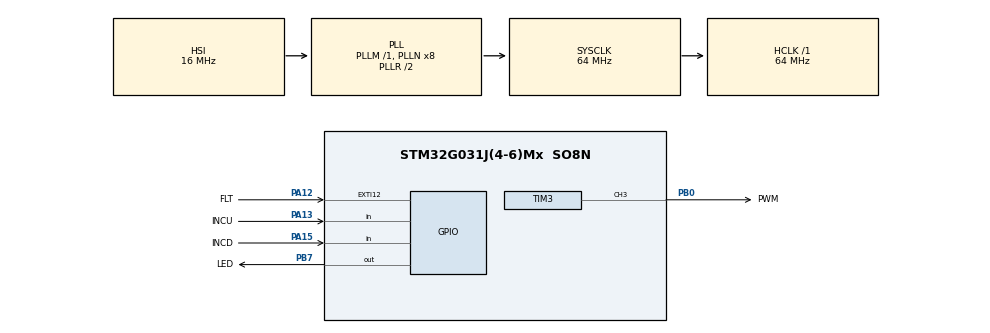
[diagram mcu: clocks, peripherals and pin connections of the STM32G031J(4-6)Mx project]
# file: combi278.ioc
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Mcu.Family=STM32G0
Mcu.Name=STM32G031J(4-6)Mx
Mcu.Package=SO8N
NVIC.EXTI4_15_IRQn=true\:0\:0\:false\:false\:true\:true\:true\:true
PA12\ [PA10].GPIO_Label=FLT
PA12\ [PA10].GPIO_ModeDefaultEXTI=GPIO_MODE_IT_FALLING
PA12\ [PA10].GPIO_PuPd=GPIO_PULLUP
PA12\ [PA10].Signal=GPXTI12
PA13.GPIO_Label=INCU
PA13.GPIO_PuPd=GPIO_PULLDOWN
PA13.Signal=GPIO_Input
PA14-BOOT0__PA15__PB5__PB6.StandardMode=true
PA15.GPIO_Label=INCD
PA15.GPIO_PuPd=GPIO_PULLDOWN
PA15.Signal=GPIO_Input
PB0.GPIO_Label=PWM
PB0.Signal=S_TIM3_CH3
PB0__PB1__PA8__PA11\ [PA9].StandardMode=true
PB7.GPIO_Label=LED
PB7.GPIO_ModeDefaultOutputPP=GPIO_MODE_OUTPUT_OD
PB7.GPIO_PuPd=GPIO_NOPULL
PB7.PinState=GPIO_PIN_SET
PB7.Signal=GPIO_Output
PC14-OSC32_IN\ (PC14)__PB7__PB8__PB9.StandardMode=true
PF2\ -\ NRST__PA0__PA1__PA2.StandardMode=true
ProjectManager.HeapSize=0x200
ProjectManager.StackSize=0x400
ProjectManager.TargetToolchain=STM32CubeIDE
RCC.ADCFreq_Value=64000000
RCC.AHBFreq_Value=64000000
RCC.CortexFreq_Value=64000000
RCC.EXTERNAL_CLOCK_VALUE=12288000
RCC.HCLKFreq_Value=64000000
RCC.HSE_VALUE=8000000
RCC.HSI_VALUE=16000000
RCC.LSE_VALUE=32768
RCC.SYSCLKFreq_VALUE=64000000
RCC.SYSCLKSource=RCC_SYSCLKSOURCE_PLLCLK
RCC.VCOOutputFreq_Value=128000000
SH.S_TIM3_CH3.0=TIM3_CH3,PWM Generation3 CH3
TIM3.AutoReloadPreload=TIM_AUTORELOAD_PRELOAD_ENABLE
TIM3.Channel-PWM\ Generation3\ CH3=TIM_CHANNEL_3
TIM3.Period=31999
TIM3.Prescaler=0
VP_TIM3_VS_ClockSourceINT.Mode=Internal
board=custom

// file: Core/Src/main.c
/* USER CODE BEGIN Header */
/**
  ******************************************************************************
  * @file           : main.c
  * @brief          : STM32G031J6 controller for MAX20078 buck LED driver
  ******************************************************************************
  * @attention
  *
  * Copyright (c) 2026 STMicroelectronics.
  * All rights reserved.
  *
  * This software is licensed under terms that can be found in the LICENSE file
  * in the root directory of this software component.
  * If no LICENSE file comes with this software, it is provided AS-IS.
  *
  ******************************************************************************
  *
  * PIN MAP
  *   PB7  LED   open-drain, LED anode to 3V3, low = lit
  *   PA13 INCU  active-high from debounce IC, internal pull-down
  *   PA15 INCD  active-high from debounce IC, internal pull-down
  *   PA12 FLT   MAX20078 open-drain fault, active low, internal pull-up
  *   PB0  PWM   TIM3_CH3 -> MAX20078 DIM (active high, 10k pull-up on board)
  *
  * TIMER
  *   PSC = 4, ARR = 31999  ->  64MHz / 5 / 32000 = 400 Hz, 32000 steps.
  *   Period is 2.5ms, so DUTY_MIN of 560 counts is a 43us DIM pulse --
  *   about 20 cycles of the 460kHz switching frequency, enough for the
  *   average-current loop to settle. (At 2 kHz the same count is only
  *   8.75us and the low end stops regulating.)
  *
  * RAMP
  *   Level is computed from total elapsed time since the press began, not
  *   accumulated per iteration. Accumulating truncated increments loses
  *   almost everything when the loop runs faster than 1ms per step; anchoring
  *   to a start time makes a full sweep in exactly SWEEP_MS by construction.
  *
  * BEHAVIOUR
  *   Hold INCU / INCD to ramp brightness smoothly. Holding INCD past minimum
  *   turns the output fully off; INCU wakes it back to minimum.
  *
  * MAX20078 NOTES
  *   DIM low for >200ms puts the part into shutdown, which pulls FLT low.
  *   That is expected in off mode, not a fault, so the fault latch is gated
  *   on off_mode and on a wake window after leaving it. On a genuine fault
  *   the output is held at DUTY_MIN rather than stopped -- stopping the timer
  *   would release PB0 to the board's 10k pull-up on DIM and drive the LED to
  *   full brightness.
  *
  ******************************************************************************
  */
/* USER CODE END Header */
#include "main.h"

/* USER CODE BEGIN PD */
/* Declared here, ahead of all code, so CubeMX regeneration can't reorder them
 * behind a call site. */
static void     latch_fault(void);
static void     write_duty(uint16_t d);
static uint16_t level_to_duty(uint16_t lv);
static void     apply_level(void);
static void     go_off(void);
static void     go_on(void);
/* USER CODE END PD */

TIM_HandleTypeDef htim3;

/* USER CODE BEGIN PV */
/* --- PWM range ----------------------------------------------------------- */
#define DUTY_MAX      32000u   /* = ARR + 1, 100% duty */
#define DUTY_MIN        560u   /* 1.75% = 43us on-time at 400Hz */
#define DUTY_OFF          0u   /* full off; DIM low, controller shuts down */

/* --- perceptual level ---------------------------------------------------- */
#define LEVEL_MAX      1000u   /* linear user-facing level, gamma applied below */
#define LEVEL_MIN         0u
#define LEVEL_START     500u   /* level on power-up and on wake from off */
#define SWEEP_MS       3000u   /* full 0..LEVEL_MAX sweep while held */

/* --- timing -------------------------------------------------------------- */
#define DEBOUNCE_N      200u   /* consecutive stable samples before acting */
#define BLINK_MS        100u   /* indicator toggle interval while adjusting */
#define STARTUP_MS      300u   /* > 200ms shutdown timer + controller startup */
#define WAKE_MS         400u   /* ignore FLT this long after leaving off mode */

#define LED_ON()  HAL_GPIO_WritePin(LED_GPIO_Port, LED_Pin, GPIO_PIN_RESET)
#define LED_OFF() HAL_GPIO_WritePin(LED_GPIO_Port, LED_Pin, GPIO_PIN_SET)

volatile uint8_t  fault     = 0;   /* latched, clears only on power cycle */
static   uint16_t level     = LEVEL_START;
static   uint8_t  off_mode  = 0;
volatile uint32_t wake_tick = 0;
/* USER CODE END PV */

void SystemClock_Config(void);
static void MX_GPIO_Init(void);
static void MX_TIM3_Init(void);

int main(void)
{

  /* MCU Configuration--------------------------------------------------------*/

  /* Reset of all peripherals, Initializes the Flash interface and the Systick. */
  HAL_Init();

  /* Configure the system clock */
  SystemClock_Config();

  /* Initialize all configured peripherals */
  MX_GPIO_Init();
  MX_TIM3_Init();
  /* USER CODE BEGIN 2 */
  /* Discard any EXTI edge captured while the GPIO block was configured. */
  __HAL_GPIO_EXTI_CLEAR_FALLING_IT(FLT_Pin);

  LED_OFF();

  /* Start mid-range. Never start at DUTY_OFF: DIM low for >200ms puts the
   * MAX20078 into shutdown, which pulls FLT low. */
  level = LEVEL_START;
  HAL_TIM_PWM_Start(&htim3, TIM_CHANNEL_3);
  apply_level();

  /* Let the controller finish its own startup before believing FLT. */
  HAL_Delay(STARTUP_MS);
  if (HAL_GPIO_ReadPin(FLT_GPIO_Port, FLT_Pin) == GPIO_PIN_RESET)
  {
    latch_fault();
  }

  uint32_t blink_t = HAL_GetTick();
  uint32_t ramp_t0 = 0;      /* tick when the current press began */
  uint16_t ramp_l0 = 0;      /* level when the current press began */
  uint8_t  ramping = 0;      /* a press is currently in progress */
  uint8_t  ramp_up = 0;      /* direction of the current press */
  uint16_t up_cnt  = 0;
  uint16_t dn_cnt  = 0;
  /* USER CODE END 2 */

  /* Infinite loop */
  while (1)
  {

    /* USER CODE BEGIN 3 */
    if (fault)
    {
      LED_ON();                 /* solid = latched fault, clears on power cycle */
      continue;
    }

    /* ---- read buttons with an integrating debounce ----------------------
     * A coupled switching glitch never survives DEBOUNCE_N consecutive
     * samples; a real press does. Compensates for the weak internal
     * pull-downs, since no external ones are fitted. */
    up_cnt = (HAL_GPIO_ReadPin(INCU_GPIO_Port, INCU_Pin) == GPIO_PIN_SET)
               ? (uint16_t)(up_cnt + 1u) : 0u;
    dn_cnt = (HAL_GPIO_ReadPin(INCD_GPIO_Port, INCD_Pin) == GPIO_PIN_SET)
               ? (uint16_t)(dn_cnt + 1u) : 0u;

    if (up_cnt > DEBOUNCE_N) up_cnt = (uint16_t)(DEBOUNCE_N + 1u);  /* no rollover */
    if (dn_cnt > DEBOUNCE_N) dn_cnt = (uint16_t)(DEBOUNCE_N + 1u);

    uint8_t up = (up_cnt > DEBOUNCE_N);
    uint8_t dn = (dn_cnt > DEBOUNCE_N);

    /* Both directions at once is physically meaningless: treat as noise. */
    if (up && dn) { up = 0; dn = 0; }

    uint32_t now = HAL_GetTick();

    if (up || dn)
    {
      /* Anchor on a new press, or when direction reverses mid-hold. */
      if (!ramping || (ramp_up != up))
      {
        ramping = 1;
        ramp_up = up;
        ramp_t0 = now;
        ramp_l0 = level;
      }

      /* Level from TOTAL elapsed time. A single division on the whole
       * interval, so holding for exactly SWEEP_MS always covers the full
       * range -- no truncation loss from summing per-iteration steps. */
      uint32_t elapsed = now - ramp_t0;
      uint32_t travel  = ((uint32_t)LEVEL_MAX * elapsed) / SWEEP_MS;

      if (up)
      {
        if (off_mode)
        {
          go_on();                                /* off -> lowest brightness */
          ramp_t0 = now;
          ramp_l0 = level;
        }
        else
        {
          level = ((uint32_t)ramp_l0 + travel > LEVEL_MAX)
                    ? LEVEL_MAX : (uint16_t)(ramp_l0 + travel);
          apply_level();
        }
      }
      else if (!off_mode)
      {
        if (travel >= (uint32_t)ramp_l0)          /* would go below minimum */
        {
          if (level == LEVEL_MIN)
          {
            go_off();                             /* already at minimum -> off */
          }
          else
          {
            level = LEVEL_MIN;
            apply_level();
          }
        }
        else
        {
          level = (uint16_t)(ramp_l0 - travel);
          apply_level();
        }
      }

      /* Blink the indicator on its own timebase, so ramp rate and blink
       * rate stay independent. */
      if ((now - blink_t) >= BLINK_MS)
      {
        blink_t = now;
        HAL_GPIO_TogglePin(LED_GPIO_Port, LED_Pin);
      }
    }
    else
    {
      ramping = 0;
      LED_OFF();
      blink_t = now;
    }
  }
  /* USER CODE END 3 */
}

void SystemClock_Config(void)
{
  RCC_OscInitTypeDef RCC_OscInitStruct = {0};
  RCC_ClkInitTypeDef RCC_ClkInitStruct = {0};

  /** Configure the main internal regulator output voltage
  */
  HAL_PWREx_ControlVoltageScaling(PWR_REGULATOR_VOLTAGE_SCALE1);

  /** Initializes the RCC Oscillators according to the specified parameters
  * in the RCC_OscInitTypeDef structure.
  */
  RCC_OscInitStruct.OscillatorType = RCC_OSCILLATORTYPE_HSI;
  RCC_OscInitStruct.HSIState = RCC_HSI_ON;
  RCC_OscInitStruct.HSIDiv = RCC_HSI_DIV1;
  RCC_OscInitStruct.HSICalibrationValue = RCC_HSICALIBRATION_DEFAULT;
  RCC_OscInitStruct.PLL.PLLState = RCC_PLL_ON;
  RCC_OscInitStruct.PLL.PLLSource = RCC_PLLSOURCE_HSI;
  RCC_OscInitStruct.PLL.PLLM = RCC_PLLM_DIV1;
  RCC_OscInitStruct.PLL.PLLN = 8;
  RCC_OscInitStruct.PLL.PLLP = RCC_PLLP_DIV2;
  RCC_OscInitStruct.PLL.PLLQ = RCC_PLLQ_DIV2;
  RCC_OscInitStruct.PLL.PLLR = RCC_PLLR_DIV2;
  if (HAL_RCC_OscConfig(&RCC_OscInitStruct) != HAL_OK)
  {
    Error_Handler();
  }

  /** Initializes the CPU, AHB and APB buses clocks
  */
  RCC_ClkInitStruct.ClockType = RCC_CLOCKTYPE_HCLK|RCC_CLOCKTYPE_SYSCLK
                              |RCC_CLOCKTYPE_PCLK1;
  RCC_ClkInitStruct.SYSCLKSource = RCC_SYSCLKSOURCE_PLLCLK;
  RCC_ClkInitStruct.AHBCLKDivider = RCC_SYSCLK_DIV1;
  RCC_ClkInitStruct.APB1CLKDivider = RCC_HCLK_DIV1;

  if (HAL_RCC_ClockConfig(&RCC_ClkInitStruct, FLASH_LATENCY_2) != HAL_OK)
  {
    Error_Handler();
  }
}

static void MX_TIM3_Init(void)
{

  TIM_ClockConfigTypeDef sClockSourceConfig = {0};
  TIM_MasterConfigTypeDef sMasterConfig = {0};
  TIM_OC_InitTypeDef sConfigOC = {0};

  htim3.Instance = TIM3;
  htim3.Init.Prescaler = 4;
  htim3.Init.CounterMode = TIM_COUNTERMODE_UP;
  htim3.Init.Period = 31999;
  htim3.Init.ClockDivision = TIM_CLOCKDIVISION_DIV1;
  htim3.Init.AutoReloadPreload = TIM_AUTORELOAD_PRELOAD_ENABLE;
  if (HAL_TIM_Base_Init(&htim3) != HAL_OK)
  {
    Error_Handler();
  }
  sClockSourceConfig.ClockSource = TIM_CLOCKSOURCE_INTERNAL;
  if (HAL_TIM_ConfigClockSource(&htim3, &sClockSourceConfig) != HAL_OK)
  {
    Error_Handler();
  }
  if (HAL_TIM_PWM_Init(&htim3) != HAL_OK)
  {
    Error_Handler();
  }
  sMasterConfig.MasterOutputTrigger = TIM_TRGO_RESET;
  sMasterConfig.MasterSlaveMode = TIM_MASTERSLAVEMODE_DISABLE;
  if (HAL_TIMEx_MasterConfigSynchronization(&htim3, &sMasterConfig) != HAL_OK)
  {
    Error_Handler();
  }
  sConfigOC.OCMode = TIM_OCMODE_PWM1;
  sConfigOC.Pulse = 0;
  sConfigOC.OCPolarity = TIM_OCPOLARITY_HIGH;
  sConfigOC.OCFastMode = TIM_OCFAST_DISABLE;
  if (HAL_TIM_PWM_ConfigChannel(&htim3, &sConfigOC, TIM_CHANNEL_3) != HAL_OK)
  {
    Error_Handler();
  }
  HAL_TIM_MspPostInit(&htim3);

}

static void MX_GPIO_Init(void)
{
  GPIO_InitTypeDef GPIO_InitStruct = {0};

  /* GPIO Ports Clock Enable */
  __HAL_RCC_GPIOB_CLK_ENABLE();
  __HAL_RCC_GPIOA_CLK_ENABLE();

  /*Configure GPIO pin Output Level */
  HAL_GPIO_WritePin(LED_GPIO_Port, LED_Pin, GPIO_PIN_SET);

  /*Configure GPIO pin : LED_Pin */
  GPIO_InitStruct.Pin = LED_Pin;
  GPIO_InitStruct.Mode = GPIO_MODE_OUTPUT_OD;
  GPIO_InitStruct.Pull = GPIO_NOPULL;
  GPIO_InitStruct.Speed = GPIO_SPEED_FREQ_LOW;
  HAL_GPIO_Init(LED_GPIO_Port, &GPIO_InitStruct);

  /*Configure GPIO pin : FLT_Pin */
  GPIO_InitStruct.Pin = FLT_Pin;
  GPIO_InitStruct.Mode = GPIO_MODE_IT_FALLING;
  GPIO_InitStruct.Pull = GPIO_PULLUP;
  HAL_GPIO_Init(FLT_GPIO_Port, &GPIO_InitStruct);

  /*Configure GPIO pins : INCU_Pin INCD_Pin */
  GPIO_InitStruct.Pin = INCU_Pin|INCD_Pin;
  GPIO_InitStruct.Mode = GPIO_MODE_INPUT;
  GPIO_InitStruct.Pull = GPIO_PULLDOWN;
  HAL_GPIO_Init(GPIOA, &GPIO_InitStruct);

  /* EXTI interrupt init*/
  HAL_NVIC_SetPriority(EXTI4_15_IRQn, 0, 0);
  HAL_NVIC_EnableIRQ(EXTI4_15_IRQn);

}

/* USER CODE BEGIN 4 */

/**
  * @brief Write the compare register.
  *
  * DUTY_OFF (0) passes through deliberately; every other value is held at or
  * above DUTY_MIN so the DIM pulse always covers enough switching cycles for
  * the controller's current loop to settle.
  */
static void write_duty(uint16_t d)
{
  if (d != DUTY_OFF)
  {
    if (d < DUTY_MIN) d = DUTY_MIN;
    if (d > DUTY_MAX) d = DUTY_MAX;
  }
  __HAL_TIM_SET_COMPARE(&htim3, TIM_CHANNEL_3, d);
}

/**
  * @brief Map a linear 0..LEVEL_MAX level onto duty with a square-law curve.
  *
  * Perceived brightness rises faster than duty, so a linear duty ramp appears
  * to race through the dim end and crawl at the top. Square law corrects most
  * of that. A full cubic is too aggressive here: DUTY_MIN is already a hard
  * floor, so cubing compresses most of the travel into the bottom stop and
  * the ramp looks like it does nothing until it is most of the way up.
  */
static uint16_t level_to_duty(uint16_t lv)
{
  if (lv > LEVEL_MAX) lv = LEVEL_MAX;

  uint32_t l = (uint32_t)lv;
  uint32_t g = (l * l) / LEVEL_MAX;          /* 0..LEVEL_MAX */

  return (uint16_t)(DUTY_MIN + (g * (DUTY_MAX - DUTY_MIN)) / LEVEL_MAX);
}

/**
  * @brief Push the current level to the timer.
  */
static void apply_level(void)
{
  write_duty(level_to_duty(level));
}

/**
  * @brief Enter off mode: DIM held low, output fully dark.
  *
  * After ~200ms the MAX20078 shuts down its VCC regulator and pulls FLT low.
  * That is expected here, so the fault latch is suppressed while off_mode set.
  */
static void go_off(void)
{
  off_mode = 1;
  write_duty(DUTY_OFF);
}

/**
  * @brief Leave off mode at the lowest usable brightness.
  *
  * The controller must restart its VCC regulator, during which FLT may still
  * read low, so a wake window suppresses the fault latch briefly.
  */
static void go_on(void)
{
  off_mode  = 0;
  level     = LEVEL_MIN;
  wake_tick = HAL_GetTick();
  apply_level();
}

/**
  * @brief Latch a fault. Output held at DUTY_MIN -- not stopped, not zeroed.
  *
  * Stopping the timer would release PB0 to the board's 10k pull-up on DIM and
  * drive the LED to full brightness. Zeroing the duty would hold DIM low past
  * the 200ms shutdown timer, which itself asserts FLT and makes the fault
  * impossible to clear.
  */
static void latch_fault(void)
{
  fault    = 1;
  off_mode = 0;
  level    = LEVEL_MIN;
  apply_level();
}

/**
  * @brief FLT falling edge, confirmed by re-read.
  *
  * A genuine MAX20078 fault holds FLT low, so it survives the re-read.
  * A glitch coupled from the switching node does not.
  */
void HAL_GPIO_EXTI_Falling_Callback(uint16_t pin)
{
  if (pin != FLT_Pin) return;
  if (off_mode) return;                              /* shutdown-mode FLT, expected */
  if ((HAL_GetTick() - wake_tick) < WAKE_MS) return; /* controller still restarting */

  if (HAL_GPIO_ReadPin(FLT_GPIO_Port, FLT_Pin) == GPIO_PIN_RESET)
  {
    latch_fault();
  }
}
/* USER CODE END 4 */

void Error_Handler(void)
{
  __disable_irq();
  while (1)
  {
  }
}
